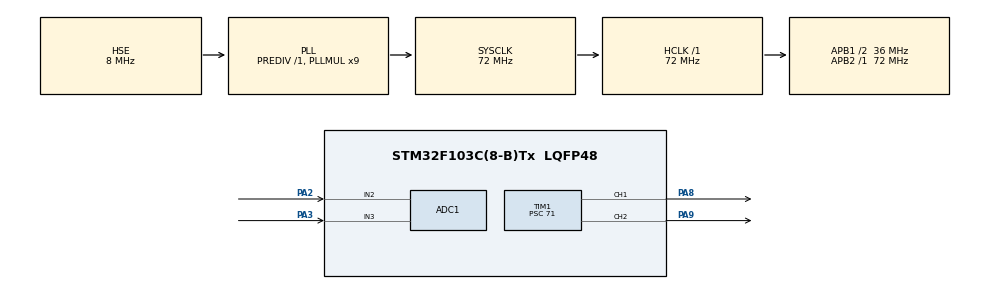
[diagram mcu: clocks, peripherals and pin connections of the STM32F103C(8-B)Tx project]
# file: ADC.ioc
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ADC1.Channel-1\#ChannelRegularConversion=ADC_CHANNEL_2
ADC1.Channel-2\#ChannelRegularConversion=ADC_CHANNEL_3
ADC1.NbrOfConversion=2
ADC1.NbrOfConversionFlag=1
ADC1.Rank-1\#ChannelRegularConversion=1
ADC1.Rank-2\#ChannelRegularConversion=2
ADC1.SamplingTime-1\#ChannelRegularConversion=ADC_SAMPLETIME_1CYCLE_5
ADC1.SamplingTime-2\#ChannelRegularConversion=ADC_SAMPLETIME_1CYCLE_5
ADC1.master=1
Mcu.Family=STM32F1
Mcu.Name=STM32F103C(8-B)Tx
Mcu.Package=LQFP48
NVIC.PriorityGroup=NVIC_PRIORITYGROUP_4
PA13.Mode=Serial_Wire
PA13.Signal=SYS_JTMS-SWDIO
PA14.Mode=Serial_Wire
PA14.Signal=SYS_JTCK-SWCLK
PA2.Signal=ADCx_IN2
PA3.Signal=ADCx_IN3
PA8.Signal=S_TIM1_CH1
PA9.Signal=S_TIM1_CH2
PD0-OSC_IN.Mode=HSE-External-Oscillator
PD0-OSC_IN.Signal=RCC_OSC_IN
PD1-OSC_OUT.Mode=HSE-External-Oscillator
PD1-OSC_OUT.Signal=RCC_OSC_OUT
ProjectManager.HeapSize=0x200
ProjectManager.StackSize=0x400
ProjectManager.TargetToolchain=STM32CubeIDE
RCC.ADCPresc=RCC_ADCPCLK2_DIV6
RCC.AHBFreq_Value=72000000
RCC.APB1CLKDivider=RCC_HCLK_DIV2
RCC.APB1Freq_Value=36000000
RCC.APB1TimFreq_Value=72000000
RCC.APB2Freq_Value=72000000
RCC.APB2TimFreq_Value=72000000
RCC.HCLKFreq_Value=72000000
RCC.PLLMUL=RCC_PLL_MUL9
RCC.PLLSourceVirtual=RCC_PLLSOURCE_HSE
RCC.SYSCLKFreq_VALUE=72000000
RCC.SYSCLKSource=RCC_SYSCLKSOURCE_PLLCLK
RCC.USBFreq_Value=72000000
SH.ADCx_IN2.0=ADC1_IN2,IN2
SH.ADCx_IN3.0=ADC1_IN3,IN3
SH.S_TIM1_CH1.0=TIM1_CH1,PWM Generation1 CH1
SH.S_TIM1_CH2.0=TIM1_CH2,Output Compare2 CH2
TIM1.Channel-Output\ Compare2\ CH2=TIM_CHANNEL_2
TIM1.Channel-PWM\ Generation1\ CH1=TIM_CHANNEL_1
TIM1.Period=999
TIM1.Prescaler=71
board=custom

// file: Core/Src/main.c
/* USER CODE BEGIN Header */
/**
  ******************************************************************************
  * @file           : main.c
  * @brief          : Main program body
  ******************************************************************************
  * @attention
  *
  * <h2><center>&copy; Copyright (c) 2020 STMicroelectronics.
  * All rights reserved.</center></h2>
  *
  * This software component is licensed by ST under BSD 3-Clause license,
  * the "License"; You may not use this file except in compliance with the
  * License. You may obtain a copy of the License at:
  *                        opensource.org/licenses/BSD-3-Clause
  *
  ******************************************************************************
  */
/* USER CODE END Header */
#include "main.h"

ADC_HandleTypeDef hadc1;

TIM_HandleTypeDef htim1;

void SystemClock_Config(void);
static void MX_GPIO_Init(void);
static void MX_ADC1_Init(void);
static void MX_TIM1_Init(void);
/* USER CODE BEGIN PFP */
uint32_t arr[2];
/* USER CODE END PFP */

int main(void)
{

  /* MCU Configuration--------------------------------------------------------*/

  /* Reset of all peripherals, Initializes the Flash interface and the Systick. */
  HAL_Init();

  /* Configure the system clock */
  SystemClock_Config();

  /* USER CODE BEGIN SysInit */
  // DMA방식 ADC결과 직접 CPU 전송 CPU개입 없이 가능하다
//  HAL_ADCEx_Calibration_Start(&hadc1); // ADC1사용하겠다
  HAL_TIM_PWM_Start(&htim1, TIM_CHANNEL_1);
  HAL_TIM_PWM_Start(&htim1, TIM_CHANNEL_2);
  /* USER CODE END SysInit */

  /* Initialize all configured peripherals */
  MX_GPIO_Init();
  MX_ADC1_Init();
  MX_TIM1_Init();

  /* Infinite loop */
  /* USER CODE BEGIN WHILE */
  while (1)
  {
	  //DMA 방식 (다중작업을 할 때 더 유용하다)
//	  HAL_ADC_Start_DMA(&hadc1, arr, 2); // ADC 시작하고 ADC변환값을 받는 방법이 2가지이다
//	  //1. 변환후 바로 메인문에서 아래와 같이 쓴다
//	  //2. 변환후 발생하는 인터럽트로 사용한다
//	  TIM1 ->CCR1 = arr[0]; // 구조체 포인터 TIM1 의 CCR1 구조채 값을 ADC에서 변환되서 나온 arr[0] 값으로한다 펄스폭 가변 PWM으로 voltage 조절
//	  // arr[2] 에서 arr[0] arr[1] 순서는 ADC에 RANK 설정시 순서대로 저장된다 나는 channel 2 , 3 순서로 지정하였기 때문에 channel2 = arr[0]에 channel3 =arr[1]에 값이 들어간다
//	  TIM1 ->CCR2 = arr[1];

	  //polling 방식 (단일 작업할때 더 유용하다)
	  HAL_ADC_Start(&hadc1);
	  HAL_ADC_PollForConversion(&hadc1, 10);
	  arr[0] = HAL_ADC_GetValue(&hadc1);

	  HAL_ADC_Start(&hadc1);
	  HAL_ADC_PollForConversion(&hadc1, 10);
	  arr[1] = HAL_ADC_GetValue(&hadc1);

	  TIM1 ->CCR1 = arr[0];
	  TIM1 ->CCR2 = arr[0];

    /* USER CODE END WHILE */

  }
}

void SystemClock_Config(void)
{
  RCC_OscInitTypeDef RCC_OscInitStruct = {0};
  RCC_ClkInitTypeDef RCC_ClkInitStruct = {0};
  RCC_PeriphCLKInitTypeDef PeriphClkInit = {0};

  /** Initializes the RCC Oscillators according to the specified parameters
  * in the RCC_OscInitTypeDef structure.
  */
  RCC_OscInitStruct.OscillatorType = RCC_OSCILLATORTYPE_HSE;
  RCC_OscInitStruct.HSEState = RCC_HSE_ON;
  RCC_OscInitStruct.HSEPredivValue = RCC_HSE_PREDIV_DIV1;
  RCC_OscInitStruct.HSIState = RCC_HSI_ON;
  RCC_OscInitStruct.PLL.PLLState = RCC_PLL_ON;
  RCC_OscInitStruct.PLL.PLLSource = RCC_PLLSOURCE_HSE;
  RCC_OscInitStruct.PLL.PLLMUL = RCC_PLL_MUL9;
  if (HAL_RCC_OscConfig(&RCC_OscInitStruct) != HAL_OK)
  {
    Error_Handler();
  }
  /** Initializes the CPU, AHB and APB buses clocks
  */
  RCC_ClkInitStruct.ClockType = RCC_CLOCKTYPE_HCLK|RCC_CLOCKTYPE_SYSCLK
                              |RCC_CLOCKTYPE_PCLK1|RCC_CLOCKTYPE_PCLK2;
  RCC_ClkInitStruct.SYSCLKSource = RCC_SYSCLKSOURCE_PLLCLK;
  RCC_ClkInitStruct.AHBCLKDivider = RCC_SYSCLK_DIV1;
  RCC_ClkInitStruct.APB1CLKDivider = RCC_HCLK_DIV2;
  RCC_ClkInitStruct.APB2CLKDivider = RCC_HCLK_DIV1;

  if (HAL_RCC_ClockConfig(&RCC_ClkInitStruct, FLASH_LATENCY_2) != HAL_OK)
  {
    Error_Handler();
  }
  PeriphClkInit.PeriphClockSelection = RCC_PERIPHCLK_ADC;
  PeriphClkInit.AdcClockSelection = RCC_ADCPCLK2_DIV6;
  if (HAL_RCCEx_PeriphCLKConfig(&PeriphClkInit) != HAL_OK)
  {
    Error_Handler();
  }
}

static void MX_ADC1_Init(void)
{

  ADC_ChannelConfTypeDef sConfig = {0};

  /** Common config
  */
  hadc1.Instance = ADC1;
  hadc1.Init.ScanConvMode = ADC_SCAN_ENABLE;
  hadc1.Init.ContinuousConvMode = DISABLE;
  hadc1.Init.DiscontinuousConvMode = DISABLE;
  hadc1.Init.ExternalTrigConv = ADC_SOFTWARE_START;
  hadc1.Init.DataAlign = ADC_DATAALIGN_RIGHT;
  hadc1.Init.NbrOfConversion = 2;
  if (HAL_ADC_Init(&hadc1) != HAL_OK)
  {
    Error_Handler();
  }
  /** Configure Regular Channel
  */
  sConfig.Channel = ADC_CHANNEL_2;
  sConfig.Rank = ADC_REGULAR_RANK_1;
  sConfig.SamplingTime = ADC_SAMPLETIME_1CYCLE_5;
  if (HAL_ADC_ConfigChannel(&hadc1, &sConfig) != HAL_OK)
  {
    Error_Handler();
  }
  /** Configure Regular Channel
  */
  sConfig.Channel = ADC_CHANNEL_3;
  sConfig.Rank = ADC_REGULAR_RANK_2;
  if (HAL_ADC_ConfigChannel(&hadc1, &sConfig) != HAL_OK)
  {
    Error_Handler();
  }

}

static void MX_TIM1_Init(void)
{

  TIM_MasterConfigTypeDef sMasterConfig = {0};
  TIM_OC_InitTypeDef sConfigOC = {0};
  TIM_BreakDeadTimeConfigTypeDef sBreakDeadTimeConfig = {0};

  htim1.Instance = TIM1;
  htim1.Init.Prescaler = 71;
  htim1.Init.CounterMode = TIM_COUNTERMODE_UP;
  htim1.Init.Period = 65535;
  htim1.Init.ClockDivision = TIM_CLOCKDIVISION_DIV1;
  htim1.Init.RepetitionCounter = 0;
  htim1.Init.AutoReloadPreload = TIM_AUTORELOAD_PRELOAD_DISABLE;
  if (HAL_TIM_PWM_Init(&htim1) != HAL_OK)
  {
    Error_Handler();
  }
  if (HAL_TIM_OC_Init(&htim1) != HAL_OK)
  {
    Error_Handler();
  }
  sMasterConfig.MasterOutputTrigger = TIM_TRGO_RESET;
  sMasterConfig.MasterSlaveMode = TIM_MASTERSLAVEMODE_DISABLE;
  if (HAL_TIMEx_MasterConfigSynchronization(&htim1, &sMasterConfig) != HAL_OK)
  {
    Error_Handler();
  }
  sConfigOC.OCMode = TIM_OCMODE_PWM1;
  sConfigOC.Pulse = 0;
  sConfigOC.OCPolarity = TIM_OCPOLARITY_HIGH;
  sConfigOC.OCNPolarity = TIM_OCNPOLARITY_HIGH;
  sConfigOC.OCFastMode = TIM_OCFAST_DISABLE;
  sConfigOC.OCIdleState = TIM_OCIDLESTATE_RESET;
  sConfigOC.OCNIdleState = TIM_OCNIDLESTATE_RESET;
  if (HAL_TIM_PWM_ConfigChannel(&htim1, &sConfigOC, TIM_CHANNEL_1) != HAL_OK)
  {
    Error_Handler();
  }
  sConfigOC.OCMode = TIM_OCMODE_TIMING;
  if (HAL_TIM_OC_ConfigChannel(&htim1, &sConfigOC, TIM_CHANNEL_2) != HAL_OK)
  {
    Error_Handler();
  }
  sBreakDeadTimeConfig.OffStateRunMode = TIM_OSSR_DISABLE;
  sBreakDeadTimeConfig.OffStateIDLEMode = TIM_OSSI_DISABLE;
  sBreakDeadTimeConfig.LockLevel = TIM_LOCKLEVEL_OFF;
  sBreakDeadTimeConfig.DeadTime = 0;
  sBreakDeadTimeConfig.BreakState = TIM_BREAK_DISABLE;
  sBreakDeadTimeConfig.BreakPolarity = TIM_BREAKPOLARITY_HIGH;
  sBreakDeadTimeConfig.AutomaticOutput = TIM_AUTOMATICOUTPUT_DISABLE;
  if (HAL_TIMEx_ConfigBreakDeadTime(&htim1, &sBreakDeadTimeConfig) != HAL_OK)
  {
    Error_Handler();
  }
  HAL_TIM_MspPostInit(&htim1);

}

static void MX_GPIO_Init(void)
{

  /* GPIO Ports Clock Enable */
  __HAL_RCC_GPIOD_CLK_ENABLE();
  __HAL_RCC_GPIOA_CLK_ENABLE();

}

/* USER CODE BEGIN 4 */
//인터럽트 이렇게도 가능
void HAL_ADC_ConvCpltCallback(ADC_HandleTypeDef* hadc)
{
  /* Prevent unused argument(s) compilation warning */
  if (hadc->Instance == hadc1.Instance){
	  TIM1 ->CCR1 = arr[0];
	  TIM1 ->CCR2 = arr[1];
  }
  /* NOTE : This function should not be modified. When the callback is needed,
            function HAL_ADC_ConvCpltCallback must be implemented in the user file.
   */
}
/* USER CODE END 4 */

void Error_Handler(void)
{
}

/************************ (C) COPYRIGHT STMicroelectronics *****END OF FILE****/
